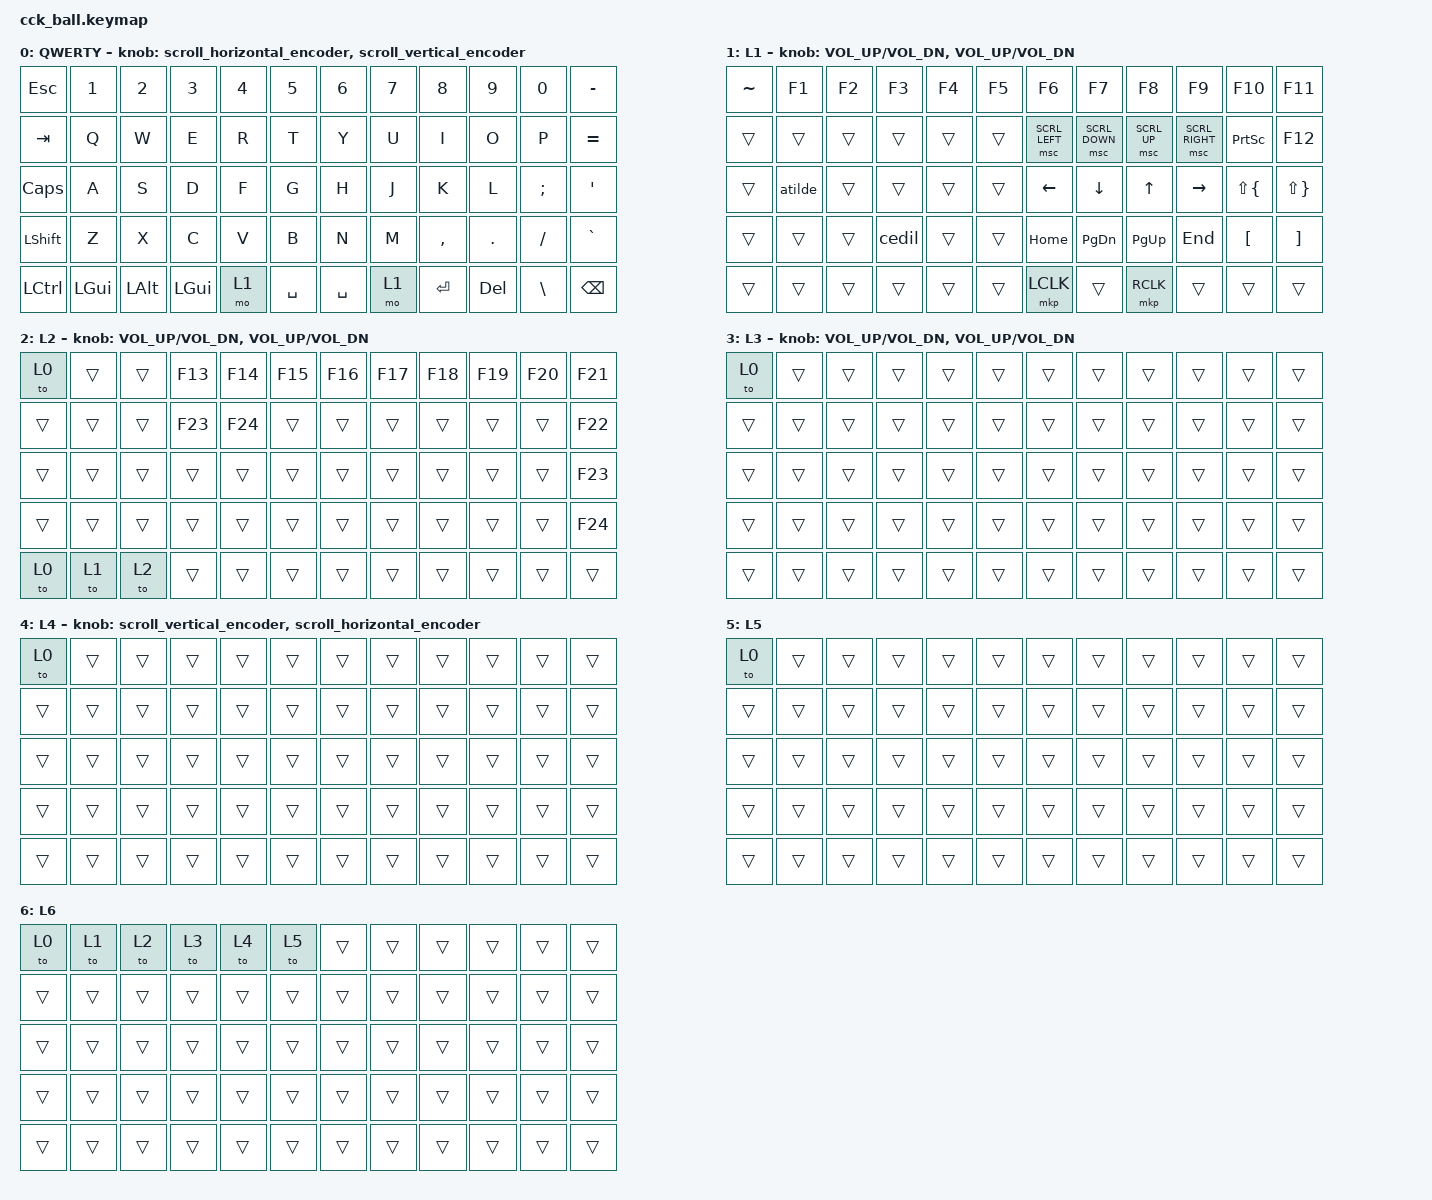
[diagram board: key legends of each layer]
#define ZMK_POINTING_DEFAULT_MOVE_VAL 1000 // 600
#define ZMK_POINTING_DEFAULT_SCRL_VAL 12   // 10

#include <input/processors.dtsi>
#include <zephyr/dt-bindings/input/input-event-codes.h>
#include <behaviors.dtsi>
#include <dt-bindings/zmk/keys.h>
#include <dt-bindings/zmk/pointing.h>

&mmv_input_listener { input-processors = <&zip_xy_scaler 2 1>; };

&msc_input_listener { input-processors = <&zip_scroll_scaler 2 1>; };

&msc {
    acceleration-exponent = <0>;      // 0
    time-to-max-speed-ms = <300>;       // 300
    delay-ms = <0>;                   // 0
};

&mmv {
    time-to-max-speed-ms = <500>;
    acceleration-exponent = <1>;
    trigger-period-ms = <16>;
};

&soft_off { hold-time-ms = <2000>; };

/ {
    // 上下滚动编码器行为

    scroll_vertical_encoder: scroll_vertical_encoder {
        compatible = "zmk,behavior-sensor-rotate";
        #sensor-binding-cells = <0>;
        bindings = <&msc SCRL_DOWN>, <&msc SCRL_UP>;

        tap-ms = <100>;
    };

    // 左右滚动编码器行为

    scroll_horizontal_encoder: scroll_horizontal_encoder {
        compatible = "zmk,behavior-sensor-rotate";
        #sensor-binding-cells = <0>;
        bindings = <&msc SCRL_LEFT>, <&msc SCRL_RIGHT>;

        tap-ms = <100>;
    };

    behaviors {
    };

    macros {
        cedil: cedil {
            compatible = "zmk,behavior-macro";
            #binding-cells = <0>;
            bindings = <&kp RA(COMMA)>;
            label = "CEDIL";
        };

        atilde: atilde {
            compatible = "zmk,behavior-macro";
            #binding-cells = <0>;
            bindings = <&kp TILDE &kp A>;
            label = "ATILDE";
        };

        otilde: otilde {
            compatible = "zmk,behavior-macro";
            #binding-cells = <0>;
            bindings = <&kp TILDE &kp O>;
            label = "OTILDE";
        };
    };

    combos {
        compatible = "zmk,combos";

        bootleft {
            bindings = <&bootloader>;
            key-positions = <52 51 53>;
            timeout-ms = <50>;
        };

        bootright {
            bindings = <&bootloader>;
            key-positions = <54 55 56>;
            timeout-ms = <50>;
        };

        ToL0 {
            bindings = <&to 0>;
            key-positions = <58 59 57 54>;
            timeout-ms = <50>;
            require-prior-idle-ms = <200>;
        };

        ToL1 {
            bindings = <&to 1>;
            key-positions = <57 59 58 55>;
            timeout-ms = <50>;
            require-prior-idle-ms = <200>;
        };

        ToL2 {
            bindings = <&to 2>;
            key-positions = <57 58 59 56>;
        };
    };

    keymap {
        compatible = "zmk,keymap";

        QWERTY {
            bindings = <
&kp ESC           &kp N1        &kp N2        &kp N3        &kp N4  &kp N5     &kp N6     &kp N7  &kp N8     &kp N9      &kp N0         &kp MINUS
&kp TAB           &kp Q         &kp W         &kp E         &kp R   &kp T      &kp Y      &kp U   &kp I      &kp O       &kp P          &kp EQUAL
&kp CAPSLOCK      &kp A         &kp S         &kp D         &kp F   &kp G      &kp H      &kp J   &kp K      &kp L       &kp SEMI       &kp SQT
&kp LEFT_SHIFT    &kp Z         &kp X         &kp C         &kp V   &kp B      &kp N      &kp M   &kp COMMA  &kp DOT     &kp SLASH      &kp GRAVE
&kp LEFT_CONTROL  &kp LEFT_GUI  &kp LEFT_ALT  &kp LEFT_GUI  &mo 1   &kp SPACE  &kp SPACE  &mo 1   &kp ENTER  &kp DELETE  &kp BACKSLASH  &kp BACKSPACE
            >;

            sensor-bindings =
                <&scroll_horizontal_encoder>,
                <&scroll_vertical_encoder>;
        };

        L1 {
            bindings = <
&kp TILDE  &kp F1   &kp F2  &kp F3  &kp F4  &kp F5  &kp F6          &kp F7          &kp F8        &kp F9           &kp F10          &kp F11
&trans     &trans   &trans  &trans  &trans  &trans  &msc SCRL_LEFT  &msc SCRL_DOWN  &msc SCRL_UP  &msc SCRL_RIGHT  &kp PRINTSCREEN  &kp F12
&trans     &atilde  &trans  &trans  &trans  &trans  &kp LEFT_ARROW  &kp DOWN        &kp UP_ARROW  &kp RIGHT_ARROW  &kp LS(LBRC)     &kp LS(RBRC)
&trans     &trans   &trans  &cedil  &trans  &trans  &kp HOME        &kp PAGE_DOWN   &kp PG_UP     &kp END          &kp LBKT         &kp RBKT
&trans     &trans   &trans  &trans  &trans  &trans  &mkp LCLK       &trans          &mkp RCLK     &trans           &trans           &trans
            >;

            sensor-bindings =
                <&inc_dec_kp C_VOL_UP C_VOL_DN>,
                <&inc_dec_kp C_VOL_UP C_VOL_DN>;
        };

        L2 {
            bindings = <
&to 0   &trans  &trans  &kp F13  &kp F14  &kp F15  &kp F16  &kp F17  &kp F18  &kp F19  &kp F20  &kp F21
&trans  &trans  &trans  &kp F23  &kp F24  &trans   &trans   &trans   &trans   &trans   &trans   &kp F22
&trans  &trans  &trans  &trans   &trans   &trans   &trans   &trans   &trans   &trans   &trans   &kp F23
&trans  &trans  &trans  &trans   &trans   &trans   &trans   &trans   &trans   &trans   &trans   &kp F24
&to 0   &to 1   &to 2   &trans   &trans   &trans   &trans   &trans   &trans   &trans   &trans   &trans
            >;

            sensor-bindings =
                <&inc_dec_kp C_VOL_UP C_VOL_DN>,
                <&inc_dec_kp C_VOL_UP C_VOL_DN>;
        };

        L3 {
            bindings = <
&to 0   &trans  &trans  &trans  &trans  &trans  &trans  &trans  &trans  &trans  &trans  &trans
&trans  &trans  &trans  &trans  &trans  &trans  &trans  &trans  &trans  &trans  &trans  &trans
&trans  &trans  &trans  &trans  &trans  &trans  &trans  &trans  &trans  &trans  &trans  &trans
&trans  &trans  &trans  &trans  &trans  &trans  &trans  &trans  &trans  &trans  &trans  &trans
&trans  &trans  &trans  &trans  &trans  &trans  &trans  &trans  &trans  &trans  &trans  &trans
            >;

            sensor-bindings =
                <&inc_dec_kp C_VOL_UP C_VOL_DN>,
                <&inc_dec_kp C_VOL_UP C_VOL_DN>;
        };

        L4 {
            bindings = <
&to 0   &trans  &trans  &trans  &trans  &trans  &trans  &trans  &trans  &trans  &trans  &trans
&trans  &trans  &trans  &trans  &trans  &trans  &trans  &trans  &trans  &trans  &trans  &trans
&trans  &trans  &trans  &trans  &trans  &trans  &trans  &trans  &trans  &trans  &trans  &trans
&trans  &trans  &trans  &trans  &trans  &trans  &trans  &trans  &trans  &trans  &trans  &trans
&trans  &trans  &trans  &trans  &trans  &trans  &trans  &trans  &trans  &trans  &trans  &trans
            >;

            sensor-bindings =
                <&scroll_vertical_encoder>,
                // 编码器1：上下滚动,,,,,,,,,,,,
                <&scroll_horizontal_encoder>;

            // 编码器2：左右滚动
        };

        L5 {
            bindings = <
&to 0   &trans  &trans  &trans  &trans  &trans  &trans  &trans  &trans  &trans  &trans  &trans
&trans  &trans  &trans  &trans  &trans  &trans  &trans  &trans  &trans  &trans  &trans  &trans
&trans  &trans  &trans  &trans  &trans  &trans  &trans  &trans  &trans  &trans  &trans  &trans
&trans  &trans  &trans  &trans  &trans  &trans  &trans  &trans  &trans  &trans  &trans  &trans
&trans  &trans  &trans  &trans  &trans  &trans  &trans  &trans  &trans  &trans  &trans  &trans
            >;
        };

        L6 {
            bindings = <
&to 0   &to 1   &to 2   &to 3   &to 4   &to 5   &trans  &trans  &trans  &trans  &trans  &trans
&trans  &trans  &trans  &trans  &trans  &trans  &trans  &trans  &trans  &trans  &trans  &trans
&trans  &trans  &trans  &trans  &trans  &trans  &trans  &trans  &trans  &trans  &trans  &trans
&trans  &trans  &trans  &trans  &trans  &trans  &trans  &trans  &trans  &trans  &trans  &trans
&trans  &trans  &trans  &trans  &trans  &trans  &trans  &trans  &trans  &trans  &trans  &trans
            >;
        };
    };
};
